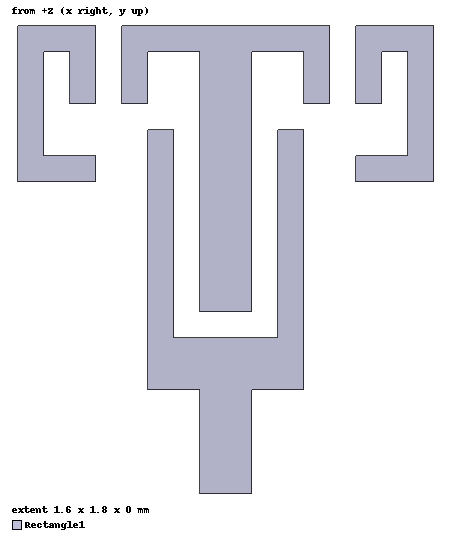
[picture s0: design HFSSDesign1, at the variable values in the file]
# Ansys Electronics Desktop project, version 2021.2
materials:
  vacuum: permittivity=1

design HFSSDesign1 (HFSS, DrivenModal, model units mm)
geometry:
  Rectangle1 = rectangle(corner=(0.1mm, -0.3mm, 0mm), x_size=-0.2mm, y_size=1mm)
  Rectangle2 = rectangle(corner=(0.3mm, 0.7mm, 0mm), x_size=-0.6mm, y_size=0.1mm)
  Rectangle3 = rectangle(corner=(-0.4mm, 0.5mm, 0mm), x_size=0.1mm, y_size=0.3mm)
  Rectangle4 = rectangle(corner=(0.4mm, 0.5mm, 0mm), x_size=-0.1mm, y_size=0.3mm)
  Rectangle5 = rectangle(corner=(-0.5mm, 0.5mm, 0mm), x_size=-0.1mm, y_size=0.3mm)
  Rectangle6 = rectangle(corner=(-0.8mm, 0.7mm, 0mm), x_size=0.2mm, y_size=0.1mm)
  Rectangle8 = rectangle(corner=(0.5mm, 0.5mm, 0mm), x_size=0.1mm, y_size=0.3mm)
  Rectangle10 = rectangle(corner=(0.8mm, 0.7mm, 0mm), x_size=-0.2mm, y_size=0.1mm)
  Rectangle11 = rectangle(corner=(-0.7mm, 0.2mm, 0mm), x_size=-0.1mm, y_size=0.5mm)
  Rectangle12 = rectangle(corner=(0.8mm, 0.2mm, 0mm), x_size=-0.1mm, y_size=0.5mm)
  Rectangle13 = rectangle(corner=(-0.7mm, 0.2mm, 0mm), x_size=0.2mm, y_size=0.1mm)
  Rectangle14 = rectangle(corner=(0.5mm, 0.2mm, 0mm), x_size=0.2mm, y_size=0.1mm)
  Rectangle15 = rectangle(corner=(0.3mm, -0.6mm, 0mm), x_size=-0.6mm, y_size=0.2mm)
  Rectangle16 = rectangle(corner=(0.3mm, -0.4mm, 0mm), x_size=-0.1mm, y_size=0.8mm)
  Rectangle17 = rectangle(corner=(-0.3mm, -0.4mm, 0mm), x_size=0.1mm, y_size=0.8mm)
  Rectangle18 = rectangle(corner=(0.1mm, -1mm, 0mm), x_size=-0.2mm, y_size=0.4mm)
  Rectangle1.unite(Rectangle2..Rectangle6, Rectangle8, Rectangle10..Rectangle18)
